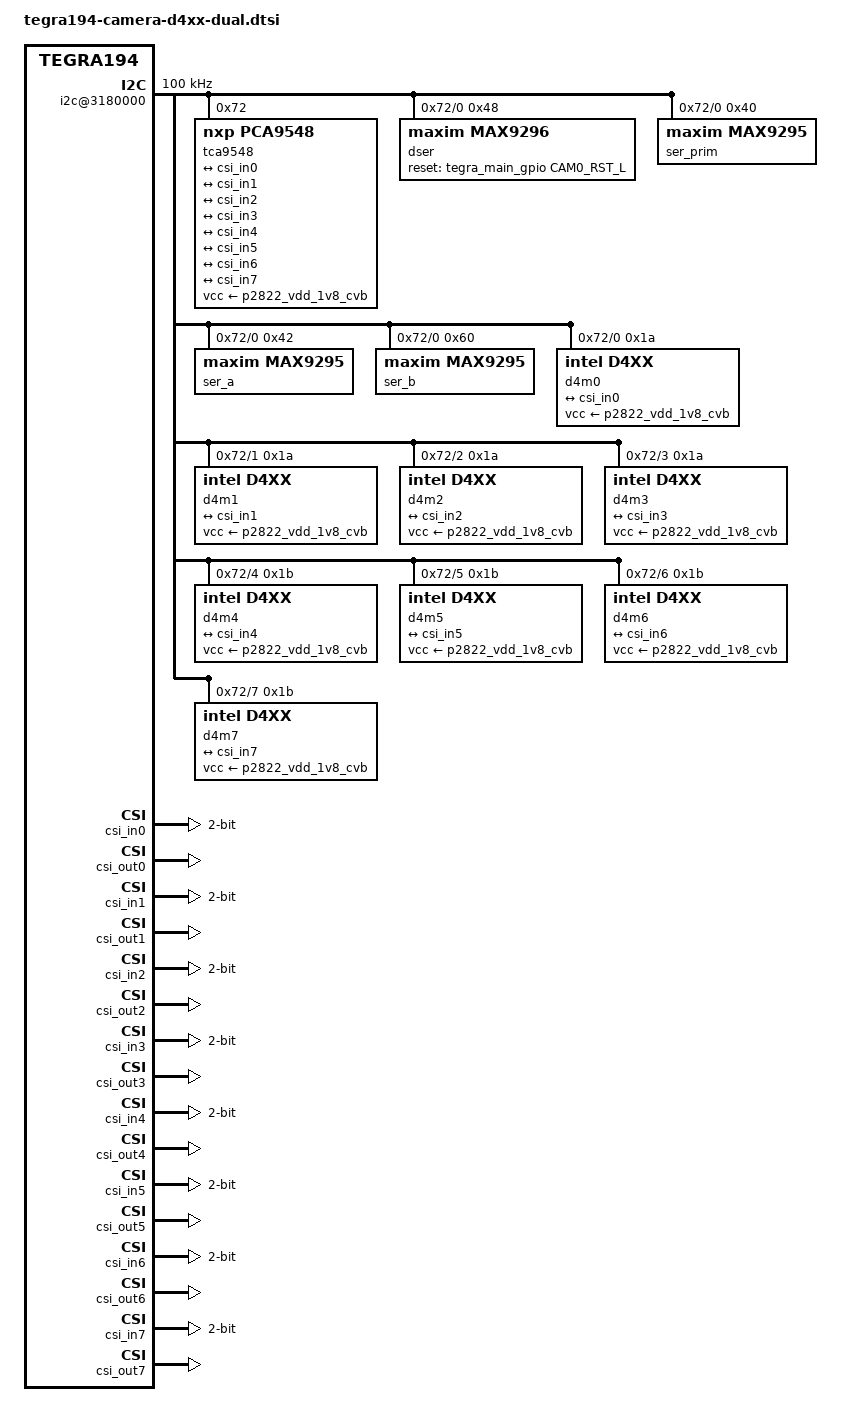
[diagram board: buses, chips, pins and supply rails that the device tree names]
#include "dt-bindings/clock/tegra194-clock.h"

#define CAM0_RST_L	TEGRA194_MAIN_GPIO(H, 3)
#define CAMERA_I2C_MUX_BUS(x) (0x1E + x)


/ {
	tegra-capture-vi {
		num-channels = <8>;

		ports {
			#address-cells = <0x1>;
			#size-cells = <0x0>;

			port@0 {
				reg = <0>;
				status = "ok";

				vi_in0: endpoint {
					status = "ok";
					port-index = <0>;
					bus-width = <2>;
					vc-id = <0>;
					remote-endpoint = <&csi_out0>;
				};
			};
			port@1 {
				reg = <1>;
				status = "ok";

				vi_in1: endpoint {
					status = "ok";
					vc-id = <1>;
					port-index = <0>;
					bus-width = <2>;
					remote-endpoint = <&csi_out1>;
				};
			};
			port@2 {
				reg = <2>;
				status = "ok";

				vi_in2: endpoint {
					status = "ok";
					port-index = <0>;
					bus-width = <2>;
					vc-id = <2>;
					remote-endpoint = <&csi_out2>;
				};
			};
			port@3 {
				reg = <3>;
				status = "ok";

				vi_in3: endpoint {
					status = "ok";
					port-index = <0>;
					bus-width = <2>;
					vc-id = <3>;
					remote-endpoint = <&csi_out3>;
				};
			};
			port@4 {
				reg = <4>;
				status = "ok";

				vi_in4: endpoint {
					status = "ok";
					port-index = <0>;
					bus-width = <2>;
					vc-id = <2>;
					remote-endpoint = <&csi_out4>;
				};
			};
			port@5 {
				reg = <5>;
				status = "ok";

				vi_in5: endpoint {
					status = "ok";
					port-index = <0>;
					bus-width = <2>;
					vc-id = <3>;
					remote-endpoint = <&csi_out5>;
				};
			};
			port@6 {
				reg = <6>;
				status = "ok";

				vi_in6: endpoint {
					status = "ok";
					port-index = <0>;
					bus-width = <2>;
					vc-id = <0>;
					remote-endpoint = <&csi_out6>;
				};
			};
			port@7 {
				reg = <7>;
				status = "ok";

				vi_in7: endpoint {
					status = "ok";
					port-index = <0>;
					bus-width = <2>;
					vc-id = <1>;
					remote-endpoint = <&csi_out7>;
				};
			};
		};
	};

	i2c@3180000 {
		status = "ok";
		clock-frequency = <100000>;
		tca9548@72 {
			status = "ok";
			reg = <0x72>;
			compatible = "nxp,pca9548";
			#address-cells = <1>;
			#size-cells = <0>;
			skip_mux_detect = "yes";
			vcc-supply = <&p2822_vdd_1v8_cvb>;
			/*vcc-pullup-supply = <&battery_reg>;*/
			force_bus_start = <CAMERA_I2C_MUX_BUS(0)>;
			vcc_lp = "vcc";
			i2c@0 {
				reg = <0x0>;
				#address-cells = <0x1>;
				i2c-mux,deselect-on-exit;
				#size-cells = <0x0>;

				dser: max9296@48 {
					status = "ok";
					reg = <0x48>;
					compatible = "maxim,max9296";
					csi-mode = "2x4";
					max-src = <2>;
					reset-gpios = <&tegra_main_gpio CAM0_RST_L GPIO_ACTIVE_HIGH>;
				};

				ser_prim: max9295_prim@40 {
					status = "ok";
					reg = <0x40>;
					compatible = "maxim,max9295";
					is-prim-ser;
				};

				ser_a: max9295_a@42 {
					compatible = "maxim,max9295";
					reg = <0x42>;
					maxim,gmsl-dser-device = <&dser>;
				};

				ser_b: max9295_b@60 {
					compatible = "maxim,max9295";
					reg = <0x60>;
					maxim,gmsl-dser-device = <&dser>;
				};

				d4m0: d4m@1a {
					status = "ok";
					def-addr = <0x10>;
					reg = <0x1a>;
					compatible = "intel,d4xx";
					vcc-supply = <&p2822_vdd_1v8_cvb>;
					cam-type = "Depth";
					maxim,gmsl-ser-device = <&ser_a>;
					maxim,gmsl-dser-device = <&dser>;
					ports {
						#address-cells = <1>;
						#size-cells = <0>;

						port@0 {
							reg = <0>;
							d4m0_out: endpoint {
								port-index = <0>;
								bus-width = <2>;
								remote-endpoint = <&csi_in0>;
							};
						};
					};
					mode0 {
						pixel_t = "grey_y16";
						num_lanes = "2";
						csi_pixel_bit_depth = "16";
						active_w = "1280";
						active_h = "720";
						tegra_sinterface = "serial_a";
						mclk_khz = "24000";
						pix_clk_hz = "74250000";
						line_length = "1280"; /* 2200 */
						embedded_metadata_height = "1";
					};
					gmsl-link {
						src-csi-port = "b";
						dst-csi-port = "a";
						serdes-csi-link = "a";
						csi-mode = "1x4";
						st-vc = <0>;
						vc-id = <0>;
						num-lanes = <2>;
					};
				};
			};

			i2c@1 {
				status = "ok";
				reg = <0x1>;
				#address-cells = <0x1>;
				i2c-mux,deselect-on-exit;
				#size-cells = <0x0>;

				d4m1: d4m@1a {
					status = "ok";
					def-addr = <0x10>;
					reg = <0x1a>;
					compatible = "intel,d4xx";
					vcc-supply = <&p2822_vdd_1v8_cvb>;
					cam-type = "RGB";
					maxim,gmsl-ser-device = <&ser_a>;
					maxim,gmsl-dser-device = <&dser>;
					ports {
						#address-cells = <1>;
						#size-cells = <0>;

						port@0 {
							reg = <0>;
							d4m1_out: endpoint {
								port-index = <1>;
								bus-width = <2>;
								remote-endpoint = <&csi_in1>;
							};
						};
					};
					mode0 {
						pixel_t = "grey_y16";
						num_lanes = "2";
						csi_pixel_bit_depth = "16";
						active_w = "1920";
						active_h = "1080";
						tegra_sinterface = "serial_e";
						mclk_khz = "24000";
						pix_clk_hz = "74250000";
						line_length = "1280"; /* 2200 */
						embedded_metadata_height = "1";
					};
					gmsl-link {
						src-csi-port = "b";
						dst-csi-port = "a";
						serdes-csi-link = "a";
						csi-mode = "1x4";
						st-vc = <0>;
						vc-id = <1>;
						num-lanes = <2>;
					};
				};
			};
			i2c@2 {
				reg = <0x2>;
				#address-cells = <0x1>;
				i2c-mux,deselect-on-exit;
				#size-cells = <0x0>;

				d4m2: d4m@1a {
					status = "ok";
					def-addr = <0x10>;
					reg = <0x1a>;
					compatible = "intel,d4xx";
					vcc-supply = <&p2822_vdd_1v8_cvb>;
					cam-type = "Y8";
					maxim,gmsl-ser-device = <&ser_a>;
					maxim,gmsl-dser-device = <&dser>;
					ports {
						#address-cells = <1>;
						#size-cells = <0>;

						port@0 {
							reg = <0>;
							d4m2_out: endpoint {
								port-index = <2>;
								bus-width = <2>;
								remote-endpoint = <&csi_in2>;
							};
						};
					};
					/* mode0: Y8, mode1: depth D16 */
					mode0 {
						pixel_t = "grey_y16";
						num_lanes = "2";
						csi_pixel_bit_depth = "16";
						active_w = "1280";
						active_h = "720";
						tegra_sinterface = "serial_b";
						mclk_khz = "24000";
						pix_clk_hz = "74250000";
						line_length = "1280"; /* 2200 */
						embedded_metadata_height = "1";
					};
					gmsl-link {
						src-csi-port = "b";
						dst-csi-port = "a";
						serdes-csi-link = "a";
						csi-mode = "1x4";
						st-vc = <0>;
						vc-id = <2>;
						num-lanes = <2>;
					};
				};
			};
			i2c@3 {
				reg = <0x3>;
				#address-cells = <0x1>;
				i2c-mux,deselect-on-exit;
				#size-cells = <0x0>;

				d4m3: d4m@1a {
					status = "ok";
					def-addr = <0x10>;
					reg = <0x1a>;
					compatible = "intel,d4xx";
					vcc-supply = <&p2822_vdd_1v8_cvb>;
					cam-type = "IMU";
					maxim,gmsl-ser-device = <&ser_a>;
					maxim,gmsl-dser-device = <&dser>;
					ports {
						#address-cells = <1>;
						#size-cells = <0>;

						port@0 {
							reg = <0>;
							d4m3_out: endpoint {
								port-index = <3>;
								bus-width = <2>;
								remote-endpoint = <&csi_in3>;
							};
						};
					};
					mode0 {
						pixel_t = "grey_y16";
						num_lanes = "2";
						csi_pixel_bit_depth = "16";
						active_w = "640";
						active_h = "480";
						tegra_sinterface = "serial_b";
						mclk_khz = "24000";
						pix_clk_hz = "74250000";
						line_length = "1280"; /* 2200 */
						embedded_metadata_height = "0";
					};
					gmsl-link {
						src-csi-port = "b";
						dst-csi-port = "a";
						serdes-csi-link = "a";
						csi-mode = "1x4";
						st-vc = <0>;
						vc-id = <3>;
						num-lanes = <2>;
					};
				};
			};

			i2c@4 {
				reg = <0x4>;
				#address-cells = <0x1>;
				i2c-mux,deselect-on-exit;
				#size-cells = <0x0>;

				d4m4: d4m@1b {
					status = "ok";
					def-addr = <0x10>;
					reg = <0x1b>;
					compatible = "intel,d4xx";
					vcc-supply = <&p2822_vdd_1v8_cvb>;
					cam-type = "Depth";
					maxim,gmsl-ser-device = <&ser_b>;
					maxim,gmsl-dser-device = <&dser>;
					ports {
						#address-cells = <1>;
						#size-cells = <0>;

						port@0 {
							reg = <0>;
							d4m4_out: endpoint {
								port-index = <4>;
								bus-width = <2>;
								remote-endpoint = <&csi_in4>;
							};
						};
					};
					mode0 {
						pixel_t = "grey_y16";
						num_lanes = "2";
						csi_pixel_bit_depth = "16";
						active_w = "1280";
						active_h = "720";
						tegra_sinterface = "serial_a";
						mclk_khz = "24000";
						pix_clk_hz = "74250000";
						line_length = "1280"; /* 2200 */
						embedded_metadata_height = "1";
					};
					gmsl-link {
						src-csi-port = "b";
						dst-csi-port = "a";
						serdes-csi-link = "b";
						csi-mode = "1x4";
						st-vc = <0>;
						vc-id = <2>;
						num-lanes = <2>;
					};
				};
			};

			i2c@5 {
				reg = <0x5>;
				#address-cells = <0x1>;
				i2c-mux,deselect-on-exit;
				#size-cells = <0x0>;

				d4m5: d4m@1b {
					status = "ok";
					def-addr = <0x10>;
					reg = <0x1b>;
					compatible = "intel,d4xx";
					vcc-supply = <&p2822_vdd_1v8_cvb>;
					cam-type = "RGB";
					maxim,gmsl-ser-device = <&ser_b>;
					maxim,gmsl-dser-device = <&dser>;
					ports {
						#address-cells = <1>;
						#size-cells = <0>;

						port@0 {
							reg = <0>;
							d4m5_out: endpoint {
								port-index = <5>;
								bus-width = <2>;
								remote-endpoint = <&csi_in5>;
							};
						};
					};
					mode0 {
						pixel_t = "grey_y16";
						num_lanes = "2";
						csi_pixel_bit_depth = "16";
						active_w = "1920";
						active_h = "1080";
						tegra_sinterface = "serial_e";
						mclk_khz = "24000";
						pix_clk_hz = "74250000";
						line_length = "1280"; /* 2200 */
						embedded_metadata_height = "1";
					};
					gmsl-link {
						src-csi-port = "b";
						dst-csi-port = "a";
						serdes-csi-link = "b";
						csi-mode = "1x4";
						st-vc = <0>;
						vc-id = <3>;
						num-lanes = <2>;
					};
				};
			};

			i2c@6 {
				reg = <0x6>;
				#address-cells = <0x1>;
				i2c-mux,deselect-on-exit;
				#size-cells = <0x0>;

				d4m6: d4m@1b {
					status = "ok";
					def-addr = <0x10>;
					reg = <0x1b>;
					compatible = "intel,d4xx";
					vcc-supply = <&p2822_vdd_1v8_cvb>;
					cam-type = "Y8";
					maxim,gmsl-ser-device = <&ser_b>;
					maxim,gmsl-dser-device = <&dser>;
					ports {
						#address-cells = <1>;
						#size-cells = <0>;

						port@0 {
							reg = <0>;
							d4m6_out: endpoint {
								port-index = <6>;
								bus-width = <2>;
								remote-endpoint = <&csi_in6>;
							};
						};
					};
					/* mode0: Y8, mode1: depth D16 */
					mode0 {
						pixel_t = "grey_y16";
						num_lanes = "2";
						csi_pixel_bit_depth = "16";
						active_w = "1280";
						active_h = "720";
						tegra_sinterface = "serial_b";
						mclk_khz = "24000";
						pix_clk_hz = "74250000";
						line_length = "1280"; /* 2200 */
						embedded_metadata_height = "1";
					};
					gmsl-link {
						src-csi-port = "b";
						dst-csi-port = "a";
						serdes-csi-link = "b";
						csi-mode = "1x4";
						st-vc = <0>;
						vc-id = <0>;
						num-lanes = <2>;
					};
				};
			};
			i2c@7 {
				reg = <0x7>;
				#address-cells = <0x1>;
				i2c-mux,deselect-on-exit;
				#size-cells = <0x0>;

				d4m7: d4m@1b {
					status = "ok";
					def-addr = <0x10>;
					reg = <0x1b>;
					compatible = "intel,d4xx";
					vcc-supply = <&p2822_vdd_1v8_cvb>;
					cam-type = "IMU";
					maxim,gmsl-ser-device = <&ser_b>;
					maxim,gmsl-dser-device = <&dser>;
					ports {
						#address-cells = <1>;
						#size-cells = <0>;

						port@0 {
							reg = <0>;
							d4m7_out: endpoint {
								port-index = <7>;
								bus-width = <2>;
								remote-endpoint = <&csi_in7>;
							};
						};
					};
					mode0 {
						pixel_t = "grey_y16";
						num_lanes = "2";
						csi_pixel_bit_depth = "16";
						active_w = "640";
						active_h = "480";
						tegra_sinterface = "serial_b";
						mclk_khz = "24000";
						pix_clk_hz = "74250000";
						line_length = "1280"; /* 2200 */
						embedded_metadata_height = "0";
					};
					gmsl-link {
						src-csi-port = "b";
						dst-csi-port = "a";
						serdes-csi-link = "b";
						csi-mode = "1x4";
						st-vc = <0>;
						vc-id = <1>;
						num-lanes = <2>;
					};
				};
			};

		};
	};

	host1x@13e00000 {
		nvcsi@15a00000 {
			#address-cells = <0x1>;
			#size-cells = <0x0>;

			num-channels = <8>;

			channel@0 {
				reg = <0x0>;
				status = "ok";

				ports {
					#address-cells = <0x1>;
					#size-cells = <0x0>;

					port@0 {
						reg = <0>;
						status = "ok";

						csi_in0: endpoint@0 {
							status = "ok";
							port-index = <0>;
							bus-width = <2>;
							remote-endpoint = <&d4m0_out>;
						};
					};
					port@1 {
						reg = <1>;
						status = "ok";
						csi_out0: endpoint@1 {
							status = "ok";
							remote-endpoint = <&vi_in0>;
						};
					};

				};
			};
			channel@1 {
				reg = <0x1>;
				status = "ok";

				ports {
					#address-cells = <0x1>;
					#size-cells = <0x0>;

					port@0 {
						reg = <0>;
						status = "ok";

						csi_in1: endpoint@2 {
							status = "ok";
							port-index = <0>;
							bus-width = <2>;
							remote-endpoint = <&d4m1_out>;
						};
					};
					port@1 {
						reg = <1>;
						status = "ok";
						csi_out1: endpoint@3 {
							status = "ok";
							remote-endpoint = <&vi_in1>;
						};
					};

				};
			};
			channel@2 {
				reg = <0x2>;
				status = "ok";

				ports {
					#address-cells = <0x1>;
					#size-cells = <0x0>;

					port@0 {
						reg = <0>;
						status = "ok";

						csi_in2: endpoint@4 {
							status = "ok";
							port-index = <0>;
							bus-width = <2>;
							remote-endpoint = <&d4m2_out>;
						};
					};
					port@1 {
						reg = <1>;
						status = "ok";
						csi_out2: endpoint@5 {
							status = "ok";
							remote-endpoint = <&vi_in2>;
						};
					};
				};
			};
			channel@3 {
				reg = <0x3>;
				status = "ok";

				ports {
					#address-cells = <0x1>;
					#size-cells = <0x0>;

					port@0 {
						reg = <0>;
						status = "ok";

						csi_in3: endpoint@6 {
							status = "ok";
							port-index = <0>;
							bus-width = <2>;
							remote-endpoint = <&d4m3_out>;
						};
					};
					port@1 {
						reg = <1>;
						status = "ok";
						csi_out3: endpoint@7 {
							status = "ok";
							remote-endpoint = <&vi_in3>;
						};
					};
				};
			};
			channel@4 {
				reg = <0x4>;
				status = "ok";

				ports {
					#address-cells = <0x1>;
					#size-cells = <0x0>;

					port@0 {
						reg = <0>;
						status = "ok";

						csi_in4: endpoint@8 {
							status = "ok";
							port-index = <0>;
							bus-width = <2>;
							remote-endpoint = <&d4m4_out>;
						};
					};
					port@1 {
						reg = <1>;
						status = "ok";
						csi_out4: endpoint@9 {
							status = "ok";
							remote-endpoint = <&vi_in4>;
						};
					};
				};
			};
			channel@5 {
				reg = <0x5>;
				status = "ok";

				ports {
					#address-cells = <0x1>;
					#size-cells = <0x0>;

					port@0 {
						reg = <0>;
						status = "ok";

						csi_in5: endpoint@10 {
							status = "ok";
							port-index = <0>;
							bus-width = <2>;
							remote-endpoint = <&d4m5_out>;
						};
					};
					port@1 {
						reg = <1>;
						status = "ok";
						csi_out5: endpoint@11 {
							status = "ok";
							remote-endpoint = <&vi_in5>;
						};
					};
				};
			};
			channel@6 {
				reg = <0x6>;
				status = "ok";

				ports {
					#address-cells = <0x1>;
					#size-cells = <0x0>;

					port@0 {
						reg = <0>;
						status = "ok";

						csi_in6: endpoint@12 {
							status = "ok";
							port-index = <0>;
							bus-width = <2>;
							remote-endpoint = <&d4m6_out>;
						};
					};
					port@1 {
						reg = <1>;
						status = "ok";
						csi_out6: endpoint@13 {
							status = "ok";
							remote-endpoint = <&vi_in6>;
						};
					};
				};
			};
			channel@7 {
				reg = <0x7>;
				status = "ok";

				ports {
					#address-cells = <0x1>;
					#size-cells = <0x0>;

					port@0 {
						reg = <0>;
						status = "ok";

						csi_in7: endpoint@14 {
							status = "ok";
							port-index = <0>;
							bus-width = <2>;
							remote-endpoint = <&d4m7_out>;
						};
					};
					port@1 {
						reg = <1>;
						status = "ok";
						csi_out7: endpoint@15 {
							status = "ok";
							remote-endpoint = <&vi_in7>;
						};
					};
				};
			};
		};
	};
};
